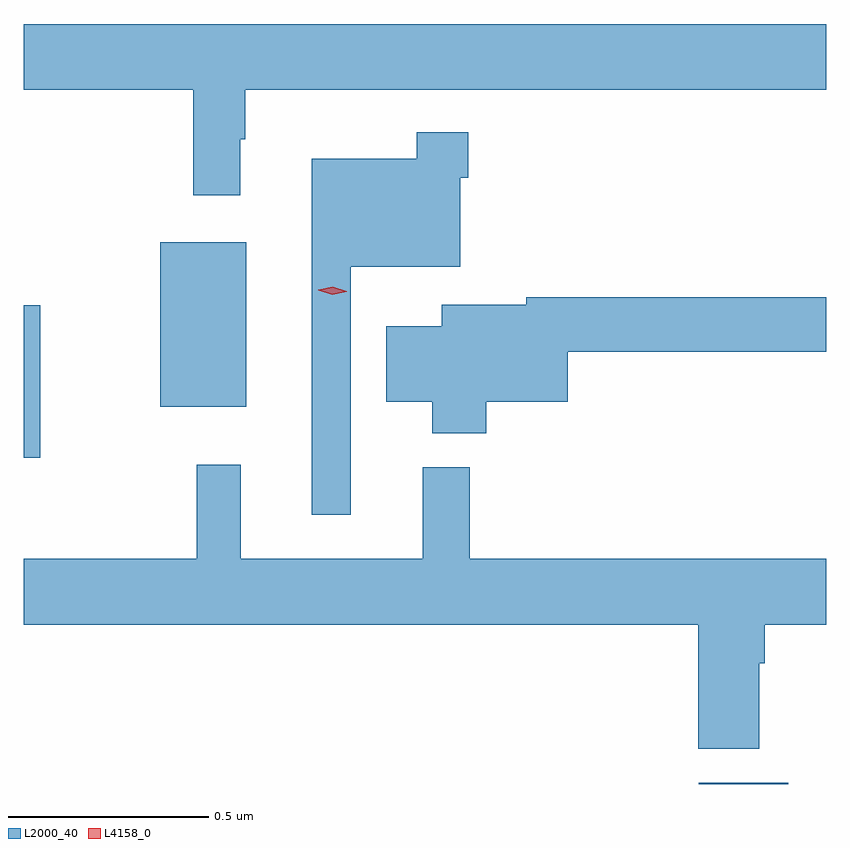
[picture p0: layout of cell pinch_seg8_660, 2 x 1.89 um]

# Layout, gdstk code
import gdstk
lib = gdstk.Library(unit=1e-6, precision=1e-09)
def R(c, l, rs):  # rectangles x0, y0, x1, y1
    for r in rs: c.add(gdstk.rectangle(r[:2], r[2:], *l))
def P(c, l, *ps):  # polygons
    for p in ps: c.add(gdstk.Polygon(p, *l))
L2000_40 = (2000, 40)
L4158_0 = (4158, 0)

pinch_seg8_660 = lib.new_cell('pinch_seg8_660')
R(pinch_seg8_660, L2000_40, [(270.372,1114.771,270.595,1114.774), (268.69,1115.583,268.732,1115.964), (269.03,1115.711,269.245,1116.121)])
P(pinch_seg8_660, L2000_40, [(269.23,1116.377),(269.242,1116.377),(269.242,1116.5),(270.69,1116.5),(270.69,1116.664),(268.69,1116.664),(268.69,1116.5),(269.113,1116.5),(269.113,1116.237),(269.23,1116.237)],
  [(269.505,1116.059),(269.778,1116.059),(269.778,1116.281),(269.798,1116.281),(269.798,1116.394),(269.67,1116.394),(269.67,1116.328),(269.408,1116.328),(269.408,1115.442),(269.505,1115.442)],
  [(269.843,1115.723),(270.046,1115.723),(270.046,1115.848),(270.69,1115.848),(270.69,1115.984),(269.942,1115.984),(269.942,1115.965),(269.732,1115.965),(269.732,1115.911),(269.594,1115.911),(269.594,1115.723),(269.708,1115.723),(269.708,1115.645),(269.843,1115.645)],
  [(270.523,1115.072),(270.536,1115.072),(270.536,1115.168),(270.69,1115.168),(270.69,1115.332),(269.801,1115.332),(269.801,1115.56),(269.684,1115.56),(269.684,1115.332),(269.231,1115.332),(269.231,1115.566),(269.121,1115.566),(269.121,1115.332),(268.69,1115.332),(268.69,1115.168),(270.371,1115.168),(270.371,1114.859),(270.523,1114.859)])
P(pinch_seg8_660, L4158_0, [(269.459,1115.99),(269.424,1116.001),(269.424,1116.002),(269.424,1116.002),(269.46,1116.01),(269.495,1115.998),(269.495,1115.997),(269.495,1115.997)])

lib.write_gds('pinch_seg8_660.gds')
